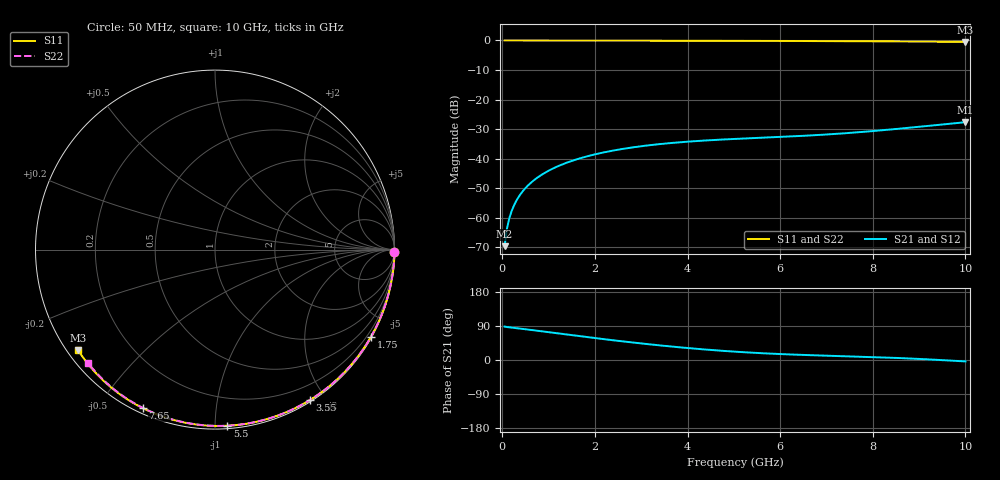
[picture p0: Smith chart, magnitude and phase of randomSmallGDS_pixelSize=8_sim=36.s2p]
! freq	dB(S11)	phase(S11)	dB(S12)	phase(S12)
!  dB(S21)	phase(S21)	dB(S22)	phase(S22)
!S-par simulation data
#  GHz  S  DB  R 50
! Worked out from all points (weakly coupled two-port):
!   200 points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, 50 MHz to 10 GHz, reference 50 ohm
!   highest |S21| = -27.64 dB at 10 GHz (marker M1); lowest = -69.6 dB at 50 MHz (marker M2)
!   lowest |S11| = -0.5 dB at 10 GHz (marker M3), VSWR 36.40, Z = 1.52 - j16.4 ohm
!   |S11| at or under -10 dB: nowhere
!   |S22| runs from -0.5 to 0.0 dB; largest |S21 - S12| = 0
!   S11 on the Smith chart (normalised r, x): 50 MHz: open; 1.75 GHz: 0.03, -3.84; 3.55 GHz: 0.02, -1.82; 5.5 GHz: 0.02, -1.07; 7.65 GHz: 0.02, -0.64; 10 GHz: 0.03, -0.33
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0.05  -0.00 -0.9  -69.57 88.2  -69.57 88.2  -0.00 -0.8
0.1  -0.00 -1.7  -63.65 87.1  -63.65 87.1  -0.00 -1.6
0.15  -0.00 -2.6  -60.21 86.2  -60.21 86.2  -0.00 -2.4
0.2  -0.00 -3.4  -57.77 85.5  -57.77 85.5  -0.00 -3.3
0.25  -0.00 -4.2  -55.87 84.8  -55.87 84.8  -0.00 -4.1
0.35  -0.00 -5.9  -52.99 83.4  -52.99 83.4  -0.00 -5.7
0.5  -0.01 -8.5  -49.93 81.2  -49.93 81.2  -0.01 -8.1
0.7  -0.01 -11.8  -47.06 78.1  -47.06 78.1  -0.01 -11.4
1  -0.02 -16.8  -44.05 73.3  -44.05 73.3  -0.02 -16.2
1.35  -0.03 -22.6  -41.58 67.8  -41.58 67.8  -0.03 -21.7
1.75  -0.04 -29.2  -39.53 61.6  -39.53 61.6  -0.04 -28.0
2.5  -0.05 -41.3  -36.94 50.5  -36.94 50.5  -0.05 -39.7
3.4  -0.07 -55.4  -35.05 38.6  -35.05 38.6  -0.07 -53.2
3.55  -0.08 -57.7  -34.82 36.7  -34.82 36.7  -0.08 -55.4
4.3  -0.10 -68.9  -33.91 28.5  -33.91 28.5  -0.09 -66.2
5.05  -0.12 -79.7  -33.28 21.8  -33.28 21.8  -0.12 -76.6
5.5  -0.14 -86.0  -32.97 18.6  -32.97 18.6  -0.13 -82.7
6.7  -0.20 -102.2  -32.08 12.5  -32.08 12.5  -0.19 -98.3
7.65  -0.26 -114.5  -31.09 9.1  -31.09 9.1  -0.25 -110.1
8.35  -0.31 -123.3  -30.16 6.3  -30.16 6.3  -0.30 -118.6
9.2  -0.39 -133.8  -28.89 1.6  -28.89 1.6  -0.37 -128.7
10  -0.48 -143.7  -27.64 -3.8  -27.64 -3.8  -0.46 -138.0
